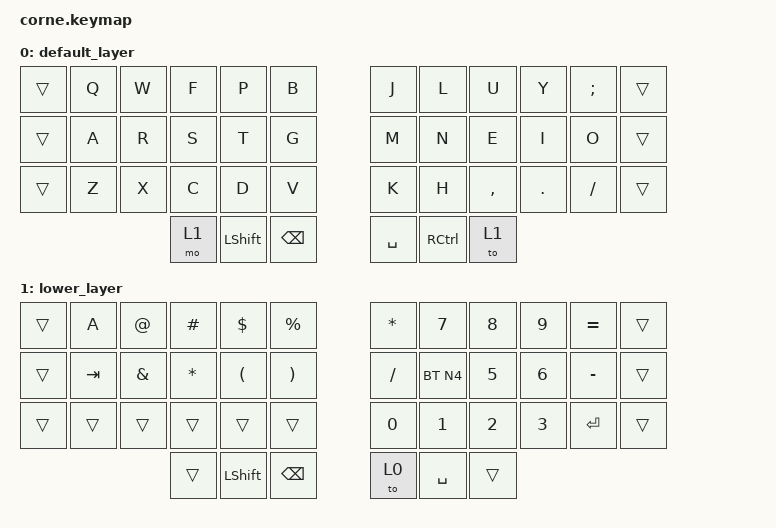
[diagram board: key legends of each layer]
/*
 * Copyright (c) 2020 The ZMK Contributors
 *
 * SPDX-License-Identifier: MIT
 */

#include <behaviors.dtsi>
#include <dt-bindings/zmk/bt.h>
#include <dt-bindings/zmk/keys.h>

/ {
    keymap {
        compatible = "zmk,keymap";

        default_layer {
            // -----------------------------------------------------------------------------------------
            //  | n/a  |  Q  |  W  |  F  |  P  |  B  |   |  J  |  L  |  U  |  Y  |  ;  | n/a |
            //  | n/a  |  A  |  R  |  S  |  T  |  G  |   |  M  |  N  |  E  |  I  |  O  | n/a |
            //  | n/a  |  Z  |  X  |  C  |  D  |  V  |   |  K  |  H  |  ,  |  .  |  /  | n/a |
            //                     |MO 1 |LSHFT| BSPC|   | SPC |RCTRL| TO 1 |

            bindings = <
&trans  &kp Q  &kp W  &kp F  &kp P       &kp B       &kp J      &kp L      &kp U      &kp Y    &kp SEMI  &trans
&trans  &kp A  &kp R  &kp S  &kp T       &kp G       &kp M      &kp N      &kp E      &kp I    &kp O     &trans
&trans  &kp Z  &kp X  &kp C  &kp D       &kp V       &kp K      &kp H      &kp COMMA  &kp DOT  &kp FSLH  &trans
                      &mo 1  &kp LSHIFT  &kp BSPC    &kp SPACE  &kp RCTRL  &to 1
            >;
        };

        lower_layer {
            // -----------------------------------------------------------------------------------------
            //  |  n/a | ESC  |  @  |  #  |  $  |  %  |   |  *  |  7  |  8  |  9  |  +  | n/a  |
            //  |  n/a | TAB  |  &  |  *  |  (  |  )  |   |  /  |  4  |  5  |  6  |  -  | n/a  |
            //  |  n/a |      |     |     |     |     |   |  0  |  1  |  2  |  3  | ENTR| n/a  |
            //                      | GUI |     | SPC |   | ENT |     | ALT |

            bindings = <
&trans  &kp A    &kp AT    &kp HASH   &kp DLLR    &kp PRCNT    &kp ASTRK  &kp N7     &kp N8  &kp N9  &kp EQUAL  &trans
&trans  &kp TAB  &kp AMPS  &kp ASTRK  &kp LPAR    &kp RPAR     &kp FSLH   &bt N4     &kp N5  &kp N6  &kp MINUS  &trans
&trans  &trans   &trans    &trans     &trans      &trans       &kp N0     &kp N1     &kp N2  &kp N3  &kp RET    &trans
                           &trans     &kp LSHIFT  &kp BSPC     &to 0      &kp SPACE  &trans
            >;
        };

        /*                raise_layer {
// -----------------------------------------------------------------------------------------
// |  TAB |  !  |  @  |  #  |  $  |  %  |   |  ^  |  &  |  *  |  (  |  )  | BKSP |
// | CTRL |     |     |     |     |     |   |  -  |  =  |  [  |  ]  |  \  |  `   |
// | SHFT |     |     |     |     |     |   |  _  |  +  |  {  |  }  | "|" |  ~   |
//                    | GUI |     | SPC |   | ENT |     | ALT |
                        bindings = <
   &kp  TAB  &kp EXCL &kp AT &kp HASH &kp DLLR &kp PRCNT   &kp CARET &kp AMPS  &kp ASTRK &kp LPAR &kp RPAR &kp BSPC
   &kp LCTRL &trans   &trans &trans   &trans   &trans      &kp MINUS &kp EQUAL &kp LBKT  &kp RBKT &kp BSLH &kp GRAVE
   &kp LSHFT &trans   &trans &trans   &trans   &trans      &kp UNDER &kp PLUS  &kp LBRC  &kp RBRC &kp PIPE &kp TILDE
                             &trans  &trans    &trans      &trans     &trans    &trans
                        >;
                };*/
    };
};
